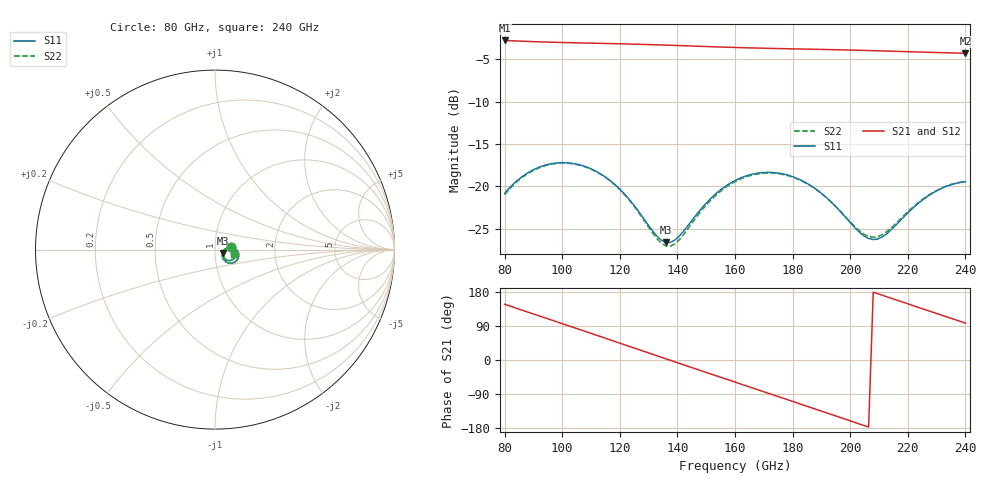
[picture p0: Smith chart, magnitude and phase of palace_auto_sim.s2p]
#  GHZ S DB R 50
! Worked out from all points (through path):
!   101 points, 80 GHz to 240 GHz, reference 50 ohm
!   highest |S21| = -2.75 dB at 80 GHz (marker M1); lowest = -4.3 dB at 240 GHz (marker M2)
!   group delay of S21, straight-line fit = 7.12 ps
!   lowest |S11| = -26.6 dB at 136 GHz (marker M3), VSWR 1.10, Z = 54.4 - j2 ohm
!   |S11| at or under -10 dB: start of sweep to end of sweep
!   |S22| runs from -27.1 to -17.3 dB; largest |S21 - S12| = 7.4e-14
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80  -20.83 7.5  -2.75 147.1  -2.75 147.1  -20.99 8.0
88  -18.41 -0.5  -2.86 126.6  -2.86 126.6  -18.51 -0.1
94.4  -17.47 -10.0  -2.94 110.2  -2.94 110.2  -17.53 -9.8
100.8  -17.20 -20.3  -3.00 93.9  -3.00 93.9  -17.25 -20.3
107.2  -17.57 -30.6  -3.05 77.5  -3.05 77.5  -17.61 -30.8
113.6  -18.58 -40.0  -3.09 61.0  -3.09 61.0  -18.62 -40.4
121.6  -20.90 -48.1  -3.16 40.4  -3.16 40.4  -20.96 -49.0
128  -23.67 -47.0  -3.21 23.8  -3.21 23.8  -23.81 -48.4
134.4  -26.37 -30.2  -3.28 7.3  -3.28 7.3  -26.73 -31.5
136  -26.64 -23.2  -3.30 3.2  -3.30 3.2  -27.06 -24.1
139.2  -26.34 -9.2  -3.34 -5.1  -3.34 -5.1  -26.79 -9.1
147.2  -23.10 7.5  -3.43 -25.6  -3.43 -25.6  -23.37 8.8
160  -19.32 -0.8  -3.58 -58.3  -3.58 -58.3  -19.45 0.4
166.4  -18.53 -9.7  -3.64 -74.6  -3.64 -74.6  -18.63 -8.5
172.8  -18.36 -19.3  -3.69 -90.9  -3.69 -90.9  -18.44 -18.2
179.2  -18.76 -28.7  -3.74 -107.2  -3.74 -107.2  -18.83 -27.5
187.2  -20.11 -38.7  -3.79 -127.7  -3.79 -127.7  -20.15 -37.4
196.8  -23.07 -42.9  -3.86 -152.3  -3.86 -152.3  -23.02 -41.3
206.4  -26.18 -24.9  -3.94 -177.0  -3.94 -177.0  -25.93 -23.7
214.4  -25.09 -1.2  -4.02 162.6  -4.02 162.6  -24.86 -1.5
227.2  -21.11 2.0  -4.15 129.9  -4.15 129.9  -21.04 1.3
240  -19.46 -12.7  -4.26 97.4  -4.26 97.4  -19.43 -13.4
